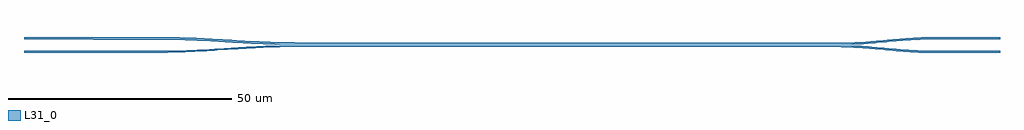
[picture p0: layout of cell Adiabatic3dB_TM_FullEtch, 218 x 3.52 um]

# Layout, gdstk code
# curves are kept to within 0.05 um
import gdstk
lib = gdstk.Library(unit=1e-6, precision=1e-09)
def P(c, l, *ps):  # polygons
    for p in ps: c.add(gdstk.Polygon(p, *l))
L31_0 = (31, 0)

adiabatic3db_tm_fulletch = lib.new_cell('Adiabatic3dB_TM_FullEtch')
P(adiabatic3db_tm_fulletch, L31_0, [(202.5,1.275),(217.5,1.25),(218,1.25),(218,1.75),(217.5,1.75),(202.5,1.725)],
  [(0,1.25),(0.5,1.25),(15.5,1.225),(15.5,1.775),(0.5,1.75),(0,1.75)],
  [(15.5,1.225),(34.518,1.171),(39.908,0.957),(51.657,0.289),(57.092,0.09),(57.092,0.639),(51.98,0.824),(40.232,1.491),(34.838,1.712),(15.5,1.775)],
  [(57.092,0.09),(183.13,0.053),(188.007,0.27),(198.018,1.124),(202.5,1.275),(202.5,1.725),(197.99,1.573),(187.974,0.719),(183.125,0.503),(57.092,0.639)],
  [(202.5,-1.725),(217.5,-1.75),(218,-1.75),(218,-1.25),(217.5,-1.25),(202.5,-1.275)],
  [(0,-1.75),(0.5,-1.75),(15.5,-1.675),(15.5,-1.325),(0.5,-1.25),(0,-1.25)],
  [(15.5,-1.675),(30.815,-1.675),(34.531,-1.616),(40.227,-1.367),(52.273,-0.628),(58.938,-0.409),(182.71,-0.5),(182.71,-0.05),(58.934,-0.059),(52.851,-0.249),(39.912,-1.034),(34.521,-1.266),(30.814,-1.325),(15.5,-1.325)],
  [(182.71,-0.5),(187.38,-0.677),(197.99,-1.573),(202.5,-1.725),(202.5,-1.275),(197.62,-1.098),(187.01,-0.202),(182.71,-0.05)])

lib.write_gds('Adiabatic3dB_TM_FullEtch.gds')
